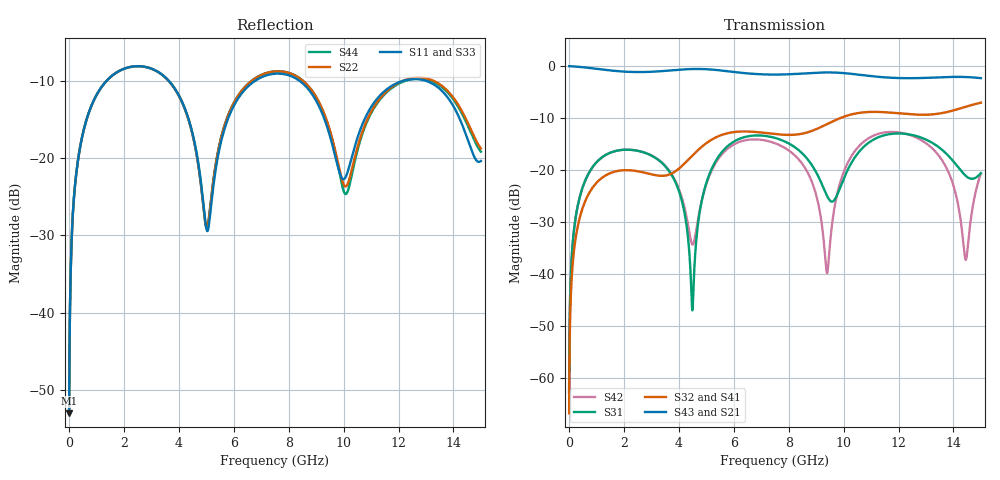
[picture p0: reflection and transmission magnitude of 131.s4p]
! Created with skrf 1.8.0 (http://scikit-rf.org).
# GHz S RI R 50.0
!freq ReS11 ImS11 ReS12 ImS12 ReS13 ImS13
! ReS14 ImS14
! ReS21 ImS21 ReS22 ImS22 ReS23 ImS23
! ReS24 ImS24
! ReS31 ImS31 ReS32 ImS32 ReS33 ImS33
! ReS34 ImS34
! ReS41 ImS41 ReS42 ImS42 ReS43 ImS43
! ReS44 ImS44
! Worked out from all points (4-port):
!   2499 points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, 5 MHz to 15 GHz, reference 50 ohm
!   strongest paths, dB at 5 MHz, 3.476 GHz, 7.19 GHz, 11.1 GHz, 15 GHz:
!     S43: 0.0, -0.9, -1.6, -2.0, -2.3
!     S21: 0.0, -0.9, -1.6, -2.0, -2.3
!     S32: -66.7, -21.1, -12.9, -8.8, -7.0
!     S41: -66.7, -21.1, -12.9, -8.8, -7.0
!     S31: -62.7, -19.1, -13.5, -14.1, -20.6
!     S42: -62.7, -19.0, -14.3, -13.3, -20.6
!   lowest |S11| = -53.0 dB at 5 MHz (marker M1), VSWR 1.00, Z = 50.2 + j0.136 ohm
!   |S11| at or under -10 dB: 3.632 GHz to 6.783 GHz (3.15 GHz wide, 60.5 % of centre); 8.389 GHz to 12.18 GHz (3.788 GHz wide, 36.8 % of centre); 12.99 GHz to end of sweep (the widest 3 of 4)
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0.005  0.00178 0.00135  0.9982 -0.00347  9.07e-05 0.000725  -8.8e-05 -0.000452
       0.9982 -0.00347  0.00178 0.00135  -8.8e-05 -0.000452  9.07e-05 0.000725
       9.07e-05 0.000725  -8.8e-05 -0.000452  0.00178 0.00135  0.9982 -0.00347
       -8.8e-05 -0.000452  9.07e-05 0.000725  0.9982 -0.00347  0.00178 0.00135
1.469362  0.2794 0.1738  0.5285 -0.7408  0.133 0.0597  -0.0927 -0.00285
          0.5285 -0.7408  0.2794 0.1738  -0.0928 -0.00277  0.1331 0.0596
          0.133 0.0597  -0.0928 -0.00277  0.2793 0.1738  0.5286 -0.7408
          -0.0927 -0.00285  0.1331 0.0596  0.5286 -0.7408  0.2794 0.1737
4.495455  0.0737 -0.1254  -0.856 -0.3811  -0.00445 -0.000552  -0.0529 0.1279
          -0.856 -0.3811  0.074 -0.1229  -0.052 0.1282  -0.0182 -0.00624
          -0.00445 -0.000552  -0.052 0.1282  0.0733 -0.1248  -0.8561 -0.3811
          -0.0529 0.1279  -0.0182 -0.00624  -0.8561 -0.3811  0.0737 -0.1223
7.696957  0.3507 -0.0183  -0.0479 0.8281  0.1697 -0.099  0.2107 -0.0584
          -0.0479 0.8281  0.3623 -0.0292  0.2113 -0.0611  0.1646 -0.0516
          0.1697 -0.099  0.2113 -0.0611  0.3497 -0.0148  -0.0488 0.8283
          0.2107 -0.0584  0.1646 -0.0516  -0.0488 0.8283  0.3624 -0.0318
9.397666  0.1158 -0.1101  0.7188 0.488  -0.0446 -0.0349  0.1512 -0.2322
          0.7188 0.488  0.1146 -0.1289  0.1468 -0.235  -0.00984 -0.0027
          -0.0446 -0.0349  0.1468 -0.235  0.1212 -0.106  0.718 0.4894
          0.1512 -0.2322  -0.00984 -0.0027  0.718 0.4894  0.1093 -0.1319
10.41684  0.0997 0.0676  0.8329 -0.0567  0.0378 0.1279  -0.043 -0.3476
          0.8329 -0.0567  0.0868 0.0544  -0.0487 -0.3459  0.0697 0.1364
          0.0378 0.1279  -0.0487 -0.3459  0.1064 0.0653  0.8332 -0.0542
          -0.043 -0.3476  0.0697 0.1364  0.8332 -0.0542  0.0794 0.055
15  0.0952 0.0108  -0.7254 -0.2444  -0.0671 0.0651  -0.1378 0.4234
    -0.7254 -0.2444  0.1082 -0.0405  -0.1291 0.4255  0.019 0.0909
    -0.0671 0.0651  -0.1291 0.4255  0.0953 0.0158  -0.7247 -0.2484
    -0.1378 0.4234  0.019 0.0909  -0.7247 -0.2484  0.1048 -0.0334
